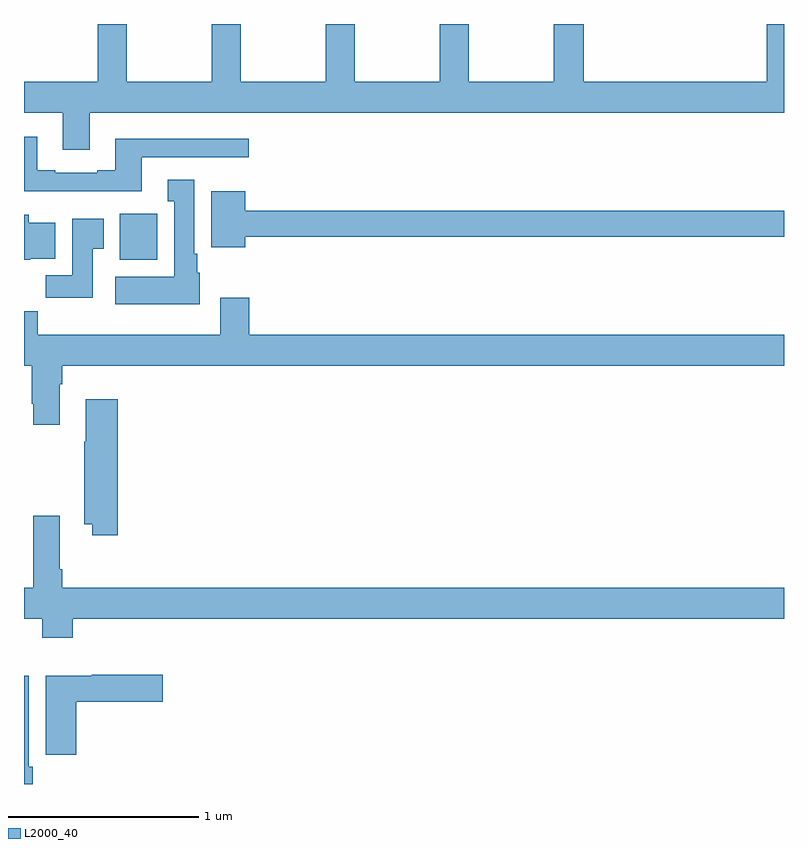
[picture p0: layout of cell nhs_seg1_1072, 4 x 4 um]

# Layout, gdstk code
import gdstk
lib = gdstk.Library(unit=1e-6, precision=1e-09)
def R(c, l, rs):  # rectangles x0, y0, x1, y1
    for r in rs: c.add(gdstk.rectangle(r[:2], r[2:], *l))
def P(c, l, *ps):  # polygons
    for p in ps: c.add(gdstk.Polygon(p, *l))
L2000_40 = (2000, 40)

nhs_seg1_1072 = lib.new_cell('nhs_seg1_1072')
R(nhs_seg1_1072, L2000_40, [(169.505,550.958,169.702,551.2)])
P(nhs_seg1_1072, L2000_40, [(169.345,551.732),(173,551.732),(173,552.199),(172.91,552.199),(172.91,551.896),(171.947,551.896),(171.947,552.199),(171.787,552.199),(171.787,551.896),(171.342,551.896),(171.342,552.199),(171.187,552.199),(171.187,551.896),(170.742,551.896),(170.742,552.199),(170.587,552.199),(170.587,551.896),(170.142,551.896),(170.142,552.199),(169.987,552.199),(169.987,551.896),(169.542,551.896),(169.542,552.199),(169.387,552.199),(169.387,551.896),(169,551.896),(169,551.732),(169.205,551.732),(169.205,551.538),(169.345,551.538)],
  [(169.621,551.499),(170.182,551.499),(170.182,551.596),(169.481,551.596),(169.481,551.428),(169.385,551.428),(169.385,551.415),(169.165,551.415),(169.165,551.428),(169.069,551.428),(169.069,551.605),(169,551.605),(169,551.318),(169.621,551.318)],
  [(169.924,550.89),(169.912,550.89),(169.912,550.99),(169.897,550.99),(169.897,551.38),(169.757,551.38),(169.757,551.267),(169.79,551.267),(169.79,550.87),(169.481,550.87),(169.481,550.724),(169.924,550.724)],
  [(170.164,551.08),(173,551.08),(173,551.216),(170.164,551.216),(170.164,551.32),(169.985,551.32),(169.985,551.024),(170.164,551.024)],
  [(169.032,550.964),(169.165,550.964),(169.165,551.152),(169.024,551.152),(169.024,551.196),(169,551.196),(169,550.958),(169.032,550.958)],
  [(169.363,551.017),(169.42,551.017),(169.42,551.173),(169.253,551.173),(169.253,550.876),(169.114,550.876),(169.114,550.758),(169.363,550.758)],
  [(169.189,550.304),(169.202,550.304),(169.202,550.4),(173,550.4),(173,550.564),(170.186,550.564),(170.186,550.759),(170.033,550.759),(170.033,550.564),(169.073,550.564),(169.073,550.688),(169,550.688),(169,550.4),(169.042,550.4),(169.042,550.201),(169.049,550.201),(169.049,550.089),(169.189,550.089)],
  [(169.493,550.225),(169.325,550.225),(169.325,550.001),(169.318,550.001),(169.318,549.566),(169.358,549.566),(169.358,549.507),(169.493,549.507)],
  [(169.256,549.068),(173,549.068),(173,549.232),(169.202,549.232),(169.202,549.328),(169.189,549.328),(169.189,549.61),(169.049,549.61),(169.049,549.232),(169,549.232),(169,549.068),(169.096,549.068),(169.096,548.969),(169.256,548.969)],
  [(169.274,548.633),(169.729,548.633),(169.729,548.775),(169.357,548.775),(169.357,548.77),(169.115,548.77),(169.115,548.352),(169.274,548.352)],
  [(169.046,548.29),(169.026,548.29),(169.026,548.77),(169,548.77),(169,548.199),(169.046,548.199)])

lib.write_gds('nhs_seg1_1072.gds')
